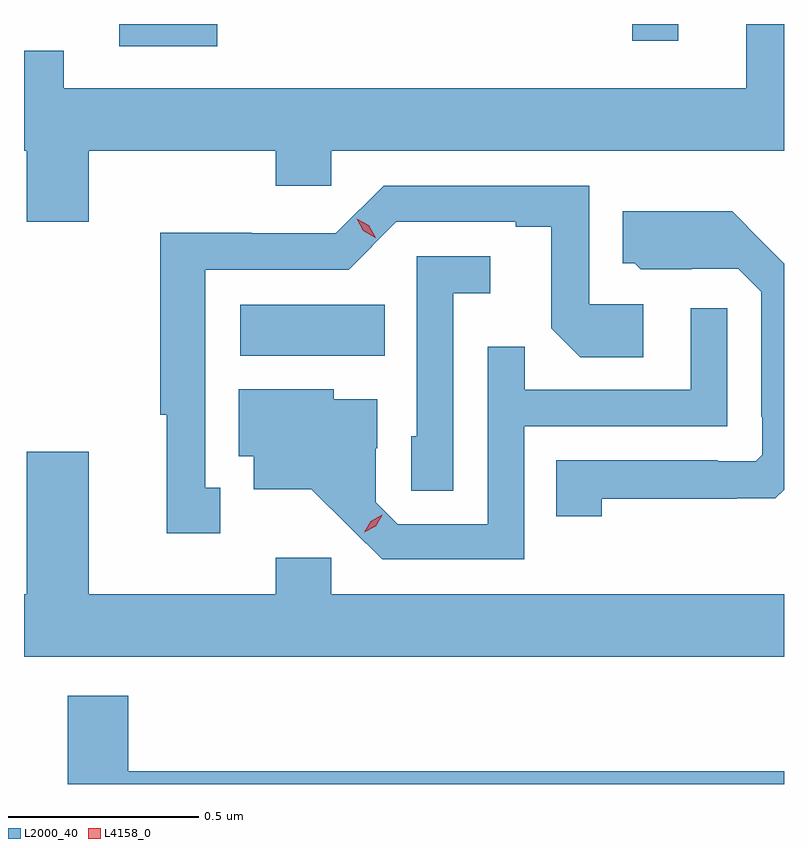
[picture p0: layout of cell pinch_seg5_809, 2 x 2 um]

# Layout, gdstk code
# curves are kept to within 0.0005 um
import gdstk
lib = gdstk.Library(unit=1e-6, precision=1e-09)
def R(c, l, rs):  # rectangles x0, y0, x1, y1
    for r in rs: c.add(gdstk.rectangle(r[:2], r[2:], *l))
def P(c, l, *ps):  # polygons
    for p in ps: c.add(gdstk.Polygon(p, *l))
L2000_40 = (2000, 40)
L4158_0 = (4158, 0)

pinch_seg5_809 = lib.new_cell('pinch_seg5_809')
R(pinch_seg5_809, L2000_40, [(788.946,909.5,789.326,909.634), (788.628,910.314,788.885,910.373), (789.978,910.329,790.099,910.373)])
P(pinch_seg5_809, L2000_40, [(788.548,910.04),(789.04,910.04),(789.04,909.947),(789.186,909.947),(789.186,910.04),(790.377,910.04),(790.377,910.373),(790.277,910.373),(790.277,910.204),(788.482,910.204),(788.482,910.302),(788.377,910.302),(788.377,910.04),(788.384,910.04),(788.384,909.852),(788.548,909.852)],
  [(788.893,909.153),(788.854,909.153),(788.854,909.726),(789.231,909.726),(789.357,909.852),(789.671,909.852),(789.671,909.84),(789.765,909.84),(789.765,909.572),(789.841,909.496),(790.006,909.496),(790.006,909.636),(789.864,909.636),(789.864,909.948),(789.324,909.948),(789.198,909.822),(788.976,909.822),(788.976,909.824),(788.736,909.824),(788.736,909.345),(788.753,909.345),(788.753,909.033),(788.893,909.033)],
  [(789.897,909.124),(790.253,909.124),(790.253,909.125),(790.354,909.125),(790.377,909.148),(790.377,909.742),(790.241,909.88),(789.953,909.88),(789.953,909.744),(789.984,909.744),(790,909.728),(790.134,909.728),(790.134,909.729),(790.257,909.729),(790.317,909.669),(790.317,909.34),(790.32,909.34),(790.32,909.24),(790.302,909.222),(790.202,909.222),(790.202,909.225),(789.778,909.225),(789.778,909.078),(789.897,909.078)],
  [(789.507,909.665),(789.604,909.665),(789.604,909.762),(789.411,909.762),(789.411,909.288),(789.396,909.288),(789.396,909.145),(789.507,909.145)],
  [(789.693,909.315),(790.227,909.315),(790.227,909.625),(790.131,909.625),(790.131,909.411),(789.695,909.411),(789.695,909.524),(789.597,909.524),(789.597,909.057),(789.36,909.057),(789.303,909.114),(789.303,909.256),(789.307,909.256),(789.307,909.385),(789.192,909.385),(789.192,909.412),(788.942,909.412),(788.942,909.236),(788.981,909.236),(788.981,909.149),(789.133,909.149),(789.32,908.964),(789.693,908.964)],
  [(790.377,908.872),(789.186,908.872),(789.186,908.968),(789.04,908.968),(789.04,908.872),(788.548,908.872),(788.548,909.247),(788.384,909.247),(788.384,908.872),(788.377,908.872),(788.377,908.708),(790.377,908.708)],
  [(790.377,908.407),(788.651,908.407),(788.651,908.605),(788.492,908.605),(788.492,908.373),(790.377,908.373)])
P(pinch_seg5_809, L4158_0, [(789.272,909.036),(789.272,909.036),(789.289,909.065),(789.32,909.081),(789.32,909.081),(789.32,909.08),(789.302,909.051),(789.272,909.036)],
  [(789.301,909.811),(789.27,909.829),(789.252,909.861),(789.252,909.861),(789.252,909.861),(789.284,909.843),(789.302,909.811),(789.302,909.811)])

lib.write_gds('pinch_seg5_809.gds')
